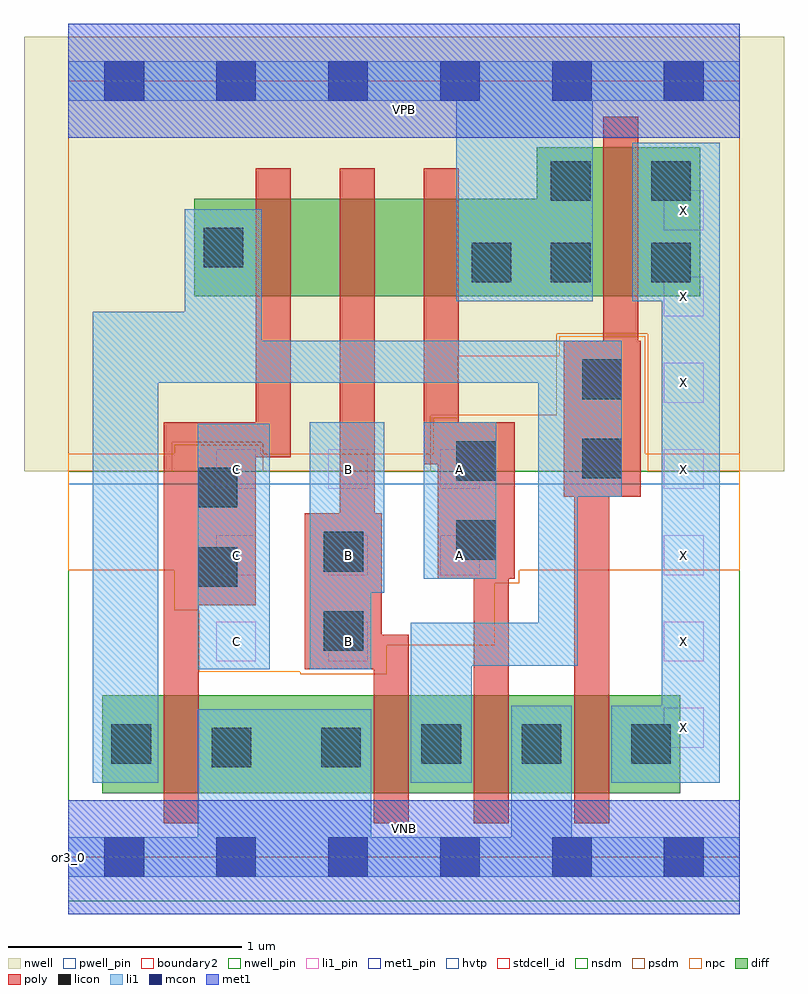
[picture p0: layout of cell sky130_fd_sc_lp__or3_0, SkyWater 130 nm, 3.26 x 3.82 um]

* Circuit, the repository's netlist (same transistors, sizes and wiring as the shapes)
* Copyright 2020 The SkyWater PDK Authors
*
* Licensed under the Apache License, Version 2.0 (the "License");
* you may not use this file except in compliance with the License.
* You may obtain a copy of the License at
*
*     https://www.apache.org/licenses/LICENSE-2.0
*
* Unless required by applicable law or agreed to in writing, software
* distributed under the License is distributed on an "AS IS" BASIS,
* WITHOUT WARRANTIES OR CONDITIONS OF ANY KIND, either express or implied.
* See the License for the specific language governing permissions and
* limitations under the License.
*
* SPDX-License-Identifier: Apache-2.0

.SUBCKT sky130_fd_sc_lp__or3_0 A B C VGND VNB VPB VPWR X
*.PININFO A:I B:I C:I VGND:I VNB:I VPB:I VPWR:I X:O
MMP0 VPWR A sndPA VPB sky130_fd_pr__pfet_01v8_hvt m=1 w=0.42U l=0.15U mult=1 sa=0.265
+ sb=0.265 sd=0.28 area=0.063 perim=1.14
MMP1 sndPA B sndPB VPB sky130_fd_pr__pfet_01v8_hvt m=1 w=0.42U l=0.15U mult=1 sa=0.265
+ sb=0.265 sd=0.28 area=0.063 perim=1.14
MMP2 sndPB C y VPB sky130_fd_pr__pfet_01v8_hvt m=1 w=0.42U l=0.15U mult=1 sa=0.265
+ sb=0.265 sd=0.28 area=0.063 perim=1.14
MMIP3 X y VPWR VPB sky130_fd_pr__pfet_01v8_hvt m=1 w=0.64U l=0.15U mult=1 sa=0.265
+ sb=0.265 sd=0.28 area=0.063 perim=1.14
MMN0 y A VGND VNB sky130_fd_pr__nfet_01v8 m=1 w=0.42U l=0.15U mult=1 sa=0.265 sb=0.265
+ sd=0.28 area=0.063 perim=1.14
MMN1 y B VGND VNB sky130_fd_pr__nfet_01v8 m=1 w=0.42U l=0.15U mult=1 sa=0.265 sb=0.265
+ sd=0.28 area=0.063 perim=1.14
MMN2 y C VGND VNB sky130_fd_pr__nfet_01v8 m=1 w=0.42U l=0.15U mult=1 sa=0.265 sb=0.265
+ sd=0.28 area=0.063 perim=1.14
MMIN3 X y VGND VNB sky130_fd_pr__nfet_01v8 m=1 w=0.42U l=0.15U mult=1 sa=0.265
+ sb=0.265 sd=0.28 area=0.063 perim=1.14
.ENDS sky130_fd_sc_lp__or3_0

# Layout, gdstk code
import gdstk
lib = gdstk.Library(unit=1e-6, precision=1e-09)
def R(c, l, rs):  # rectangles x0, y0, x1, y1
    for r in rs: c.add(gdstk.rectangle(r[:2], r[2:], *l))
def A(c, l, x, y, w, h, nx, ny, dx, dy):  # array of equal rectangles
    R(c, l, [(x+i*dx, y+j*dy, x+i*dx+w, y+j*dy+h) for i in range(nx) for j in range(ny)])
def P(c, l, *ps):  # polygons
    for p in ps: c.add(gdstk.Polygon(p, *l))
nwell_pin = (64, 16)
nwell = (64, 20)
diff = (65, 20)
poly = (66, 20)
licon = (66, 44)
li1_pin = (67, 16)
li1 = (67, 20)
mcon = (67, 44)
met1_pin = (68, 16)
met1 = (68, 20)
hvtp = (78, 44)
stdcell_id = (81, 4)
nsdm = (93, 44)
psdm = (94, 20)
npc = (95, 20)
pwell_pin = (122, 16)
boundary2 = (236, 0)

sky130_fd_sc_lp__or3_0 = lib.new_cell('sky130_fd_sc_lp__or3_0')
R(sky130_fd_sc_lp__or3_0, nwell_pin, [(0,3.085,2.88,3.33)])
R(sky130_fd_sc_lp__or3_0, nwell, [(-0.19,1.655,3.07,3.52)])
R(sky130_fd_sc_lp__or3_0, diff, [(0.145,0.275,2.625,0.695)])
P(sky130_fd_sc_lp__or3_0, diff, [(2.71,3.045),(2.01,3.045),(2.01,2.825),(0.54,2.825),(0.54,2.405),(2.71,2.405)])
P(sky130_fd_sc_lp__or3_0, poly, [(0.955,2.955),(0.805,2.955),(0.805,1.865),(0.41,1.865),(0.41,0.145),(0.56,0.145),(0.56,1.08),(0.805,1.08),(0.805,1.715),(0.955,1.715)],
  [(1.46,0.955),(1.345,0.955),(1.345,1.475),(1.315,1.475),(1.315,2.955),(1.165,2.955),(1.165,1.475),(1.015,1.475),(1.015,0.805),(1.31,0.805),(1.31,0.145),(1.46,0.145)],
  [(1.915,1.865),(1.675,1.865),(1.675,2.955),(1.525,2.955),(1.525,1.685),(1.585,1.685),(1.585,1.195),(1.74,1.195),(1.74,0.145),(1.89,0.145),(1.89,1.195),(1.915,1.195)],
  [(2.455,2.215),(2.445,2.215),(2.445,3.175),(2.295,3.175),(2.295,2.215),(2.125,2.215),(2.125,1.545),(2.17,1.545),(2.17,0.145),(2.32,0.145),(2.32,1.545),(2.455,1.545)])
R(sky130_fd_sc_lp__or3_0, licon, [(0.615,0.385,0.785,0.555), (1.085,0.385,1.255,0.555), (0.185,0.4,0.355,0.57), (1.515,0.4,1.685,0.57), (1.945,0.4,2.115,0.57), (2.415,0.4,2.585,0.57), (1.095,0.885,1.265,1.055), (0.555,1.16,0.725,1.33), (1.095,1.225,1.265,1.395), (1.665,1.275,1.835,1.445), (0.555,1.5,0.725,1.67), (1.665,1.615,1.835,1.785), (2.205,1.625,2.375,1.795), (2.205,1.965,2.375,2.135), (1.73,2.465,1.9,2.635), (2.07,2.465,2.24,2.635), (2.5,2.465,2.67,2.635), (0.58,2.53,0.75,2.7), (2.07,2.815,2.24,2.985), (2.5,2.815,2.67,2.985)])
A(sky130_fd_sc_lp__or3_0, li1_pin, 2.555, 0.47, 0.17, 0.17, 1, 7, 0, 0.37)
A(sky130_fd_sc_lp__or3_0, li1_pin, 0.635, 1.21, 0.17, 0.17, 3, 2, 0.48, 0.37)
R(sky130_fd_sc_lp__or3_0, li1_pin, [(0.635,0.84,0.805,1.01), (1.115,0.84,1.285,1.01)])
R(sky130_fd_sc_lp__or3_0, li1, [(0.555,0.805,0.865,1.86), (1.525,1.195,1.835,1.865)])
P(sky130_fd_sc_lp__or3_0, li1, [(2.375,2.215),(0.83,2.215),(0.83,2.78),(0.5,2.78),(0.5,2.34),(0.105,2.34),(0.105,0.32),(0.385,0.32),(0.385,2.035),(2.015,2.035),(2.015,1.005),(1.47,1.005),(1.47,0.32),(1.73,0.32),(1.73,0.82),(2.185,0.82),(2.185,1.545),(2.375,1.545)],
  [(1.355,1.865),(1.035,1.865),(1.035,0.805),(1.3,0.805),(1.3,1.135),(1.355,1.135)],
  [(2.88,3.415),(0,3.415),(0,3.245),(1.665,3.245),(1.665,2.385),(2.25,2.385),(2.25,3.245),(2.88,3.245)],
  [(2.88,0.085),(2.16,0.085),(2.16,0.65),(1.9,0.65),(1.9,0.085),(1.3,0.085),(1.3,0.635),(0.555,0.635),(0.555,0.085),(0,0.085),(0,-0.085),(2.88,-0.085)],
  [(2.795,3.065),(2.42,3.065),(2.42,2.385),(2.545,2.385),(2.545,0.65),(2.33,0.65),(2.33,0.32),(2.795,0.32)])
A(sky130_fd_sc_lp__or3_0, mcon, 0.155, -0.085, 0.17, 0.17, 6, 2, 0.48, 3.33)
R(sky130_fd_sc_lp__or3_0, met1_pin, [(0,0,2.88,0.245), (0,3.085,2.88,3.33)])
R(sky130_fd_sc_lp__or3_0, met1, [(0,-0.245,2.88,0.245), (0,3.085,2.88,3.575)])
R(sky130_fd_sc_lp__or3_0, hvtp, [(0,1.6,2.88,3.33)])
R(sky130_fd_sc_lp__or3_0, stdcell_id, [(0,0,2.88,3.33)])
R(sky130_fd_sc_lp__or3_0, nsdm, [(0,-0.19,2.88,1.655)])
P(sky130_fd_sc_lp__or3_0, psdm, [(2.88,3.52),(0,3.52),(0,1.655),(0.445,1.655),(0.445,1.78),(0.835,1.78),(0.835,1.655),(1.555,1.655),(1.555,1.895),(2.095,1.895),(2.095,2.245),(2.485,2.245),(2.485,1.655),(2.88,1.655)])
P(sky130_fd_sc_lp__or3_0, npc, [(2.88,1.73),(2.475,1.73),(2.475,2.235),(2.105,2.235),(2.105,2.15),(1.67,2.15),(1.67,1.885),(1.565,1.885),(1.565,1.73),(0.825,1.73),(0.825,1.77),(0.455,1.77),(0.455,1.73),(0,1.73),(0,1.23),(0.455,1.23),(0.455,1.06),(0.56,1.06),(0.56,0.795),(0.995,0.795),(0.995,0.785),(1.365,0.785),(1.365,0.91),(1.83,0.91),(1.83,1.175),(1.935,1.175),(1.935,1.23),(2.88,1.23)])
R(sky130_fd_sc_lp__or3_0, pwell_pin, [(0,0,2.88,0.245)])
R(sky130_fd_sc_lp__or3_0, boundary2, [(0,0,2.88,3.33)])
sky130_fd_sc_lp__or3_0.add(gdstk.Label('VNB', (1.44,0.123), layer=64, texttype=59))
sky130_fd_sc_lp__or3_0.add(gdstk.Label('VPB', (1.44,3.208), layer=64, texttype=5))
sky130_fd_sc_lp__or3_0.add(gdstk.Label('or3_0', (0,0), layer=83, texttype=44))
sky130_fd_sc_lp__or3_0.add(gdstk.Label('VPWR', (1.44,3.208), layer=68, texttype=5))
sky130_fd_sc_lp__or3_0.add(gdstk.Label('VGND', (1.44,0.123), layer=68, texttype=5))
sky130_fd_sc_lp__or3_0.add(gdstk.Label('A', (1.68,1.295), layer=67, texttype=5))
sky130_fd_sc_lp__or3_0.add(gdstk.Label('A', (1.68,1.665), layer=67, texttype=5))
sky130_fd_sc_lp__or3_0.add(gdstk.Label('B', (1.2,0.925), layer=67, texttype=5))
sky130_fd_sc_lp__or3_0.add(gdstk.Label('B', (1.2,1.295), layer=67, texttype=5))
sky130_fd_sc_lp__or3_0.add(gdstk.Label('B', (1.2,1.665), layer=67, texttype=5))
sky130_fd_sc_lp__or3_0.add(gdstk.Label('C', (0.72,0.925), layer=67, texttype=5))
sky130_fd_sc_lp__or3_0.add(gdstk.Label('C', (0.72,1.295), layer=67, texttype=5))
sky130_fd_sc_lp__or3_0.add(gdstk.Label('C', (0.72,1.665), layer=67, texttype=5))
sky130_fd_sc_lp__or3_0.add(gdstk.Label('X', (2.64,0.555), layer=67, texttype=5))
sky130_fd_sc_lp__or3_0.add(gdstk.Label('X', (2.64,0.925), layer=67, texttype=5))
sky130_fd_sc_lp__or3_0.add(gdstk.Label('X', (2.64,1.295), layer=67, texttype=5))
sky130_fd_sc_lp__or3_0.add(gdstk.Label('X', (2.64,1.665), layer=67, texttype=5))
sky130_fd_sc_lp__or3_0.add(gdstk.Label('X', (2.64,2.035), layer=67, texttype=5))
sky130_fd_sc_lp__or3_0.add(gdstk.Label('X', (2.64,2.405), layer=67, texttype=5))
sky130_fd_sc_lp__or3_0.add(gdstk.Label('X', (2.64,2.775), layer=67, texttype=5))

lib.write_gds('sky130_fd_sc_lp__or3_0.gds')
